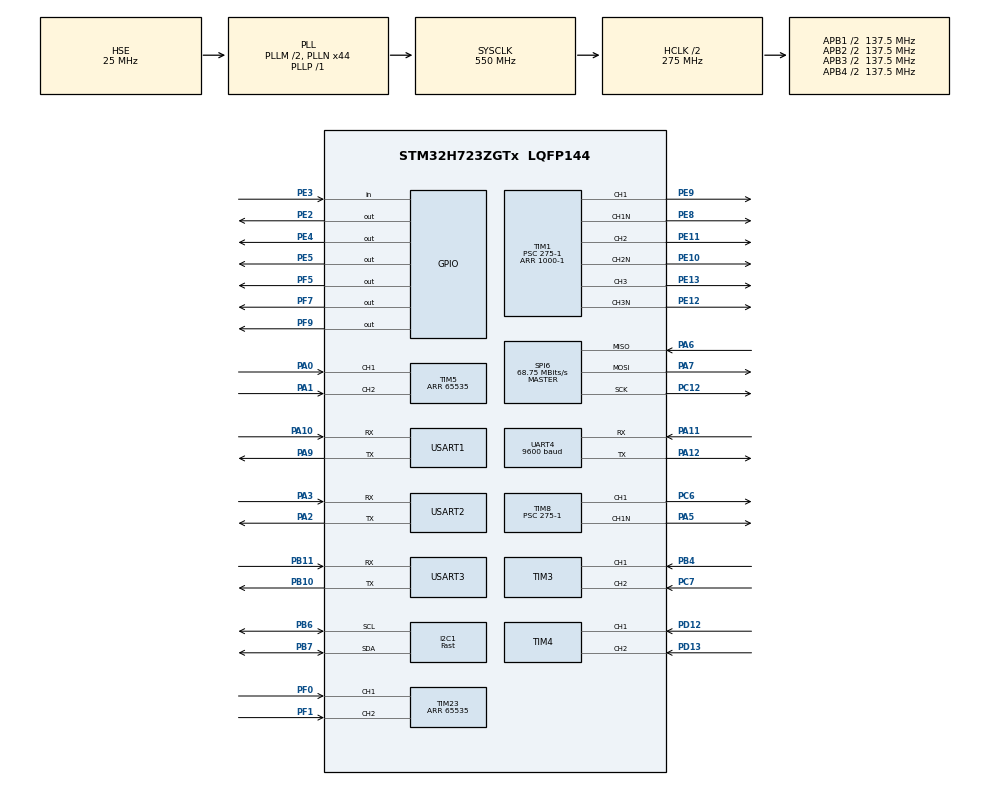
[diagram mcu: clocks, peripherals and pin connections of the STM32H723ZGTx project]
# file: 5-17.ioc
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CORTEX_M7.default_mode_Activation=1
Dma.Request0=USART1_RX
Dma.Request1=USART1_TX
Dma.Request2=UART4_RX
Dma.Request3=UART4_TX
Dma.Request4=USART2_RX
Dma.Request5=USART2_TX
Dma.Request6=USART3_RX
Dma.Request7=USART3_TX
Dma.UART4_RX.2.Direction=DMA_PERIPH_TO_MEMORY
Dma.UART4_RX.2.EventEnable=DISABLE
Dma.UART4_RX.2.FIFOMode=DMA_FIFOMODE_DISABLE
Dma.UART4_RX.2.Instance=DMA1_Stream2
Dma.UART4_RX.2.MemDataAlignment=DMA_MDATAALIGN_BYTE
Dma.UART4_RX.2.MemInc=DMA_MINC_ENABLE
Dma.UART4_RX.2.Mode=DMA_NORMAL
Dma.UART4_RX.2.PeriphDataAlignment=DMA_PDATAALIGN_BYTE
Dma.UART4_RX.2.PeriphInc=DMA_PINC_DISABLE
Dma.UART4_RX.2.Polarity=HAL_DMAMUX_REQ_GEN_RISING
Dma.UART4_RX.2.Priority=DMA_PRIORITY_LOW
Dma.UART4_RX.2.RequestNumber=1
Dma.UART4_RX.2.SignalID=NONE
Dma.UART4_RX.2.SyncEnable=DISABLE
Dma.UART4_RX.2.SyncPolarity=HAL_DMAMUX_SYNC_NO_EVENT
Dma.UART4_RX.2.SyncRequestNumber=1
Dma.UART4_RX.2.SyncSignalID=NONE
Dma.UART4_TX.3.Direction=DMA_MEMORY_TO_PERIPH
Dma.UART4_TX.3.EventEnable=DISABLE
Dma.UART4_TX.3.FIFOMode=DMA_FIFOMODE_DISABLE
Dma.UART4_TX.3.Instance=DMA1_Stream3
Dma.UART4_TX.3.MemDataAlignment=DMA_MDATAALIGN_BYTE
Dma.UART4_TX.3.MemInc=DMA_MINC_ENABLE
Dma.UART4_TX.3.Mode=DMA_NORMAL
Dma.UART4_TX.3.PeriphDataAlignment=DMA_PDATAALIGN_BYTE
Dma.UART4_TX.3.PeriphInc=DMA_PINC_DISABLE
Dma.UART4_TX.3.Polarity=HAL_DMAMUX_REQ_GEN_RISING
Dma.UART4_TX.3.Priority=DMA_PRIORITY_LOW
Dma.UART4_TX.3.RequestNumber=1
Dma.UART4_TX.3.SignalID=NONE
Dma.UART4_TX.3.SyncEnable=DISABLE
Dma.UART4_TX.3.SyncPolarity=HAL_DMAMUX_SYNC_NO_EVENT
Dma.UART4_TX.3.SyncRequestNumber=1
Dma.UART4_TX.3.SyncSignalID=NONE
Dma.USART1_RX.0.Direction=DMA_PERIPH_TO_MEMORY
Dma.USART1_RX.0.EventEnable=DISABLE
Dma.USART1_RX.0.FIFOMode=DMA_FIFOMODE_DISABLE
Dma.USART1_RX.0.Instance=DMA1_Stream0
Dma.USART1_RX.0.MemDataAlignment=DMA_MDATAALIGN_BYTE
Dma.USART1_RX.0.MemInc=DMA_MINC_ENABLE
Dma.USART1_RX.0.Mode=DMA_CIRCULAR
Dma.USART1_RX.0.PeriphDataAlignment=DMA_PDATAALIGN_BYTE
Dma.USART1_RX.0.PeriphInc=DMA_PINC_DISABLE
Dma.USART1_RX.0.Polarity=HAL_DMAMUX_REQ_GEN_RISING
Dma.USART1_RX.0.Priority=DMA_PRIORITY_LOW
Dma.USART1_RX.0.RequestNumber=1
Dma.USART1_RX.0.SignalID=NONE
Dma.USART1_RX.0.SyncEnable=DISABLE
Dma.USART1_RX.0.SyncPolarity=HAL_DMAMUX_SYNC_NO_EVENT
Dma.USART1_RX.0.SyncRequestNumber=1
Dma.USART1_RX.0.SyncSignalID=NONE
Dma.USART1_TX.1.Direction=DMA_MEMORY_TO_PERIPH
Dma.USART1_TX.1.EventEnable=DISABLE
Dma.USART1_TX.1.FIFOMode=DMA_FIFOMODE_DISABLE
Dma.USART1_TX.1.Instance=DMA1_Stream1
Dma.USART1_TX.1.MemDataAlignment=DMA_MDATAALIGN_BYTE
Dma.USART1_TX.1.MemInc=DMA_MINC_ENABLE
Dma.USART1_TX.1.Mode=DMA_NORMAL
Dma.USART1_TX.1.PeriphDataAlignment=DMA_PDATAALIGN_BYTE
Dma.USART1_TX.1.PeriphInc=DMA_PINC_DISABLE
Dma.USART1_TX.1.Polarity=HAL_DMAMUX_REQ_GEN_RISING
Dma.USART1_TX.1.Priority=DMA_PRIORITY_LOW
Dma.USART1_TX.1.RequestNumber=1
Dma.USART1_TX.1.SignalID=NONE
Dma.USART1_TX.1.SyncEnable=DISABLE
Dma.USART1_TX.1.SyncPolarity=HAL_DMAMUX_SYNC_NO_EVENT
Dma.USART1_TX.1.SyncRequestNumber=1
Dma.USART1_TX.1.SyncSignalID=NONE
Dma.USART2_RX.4.Direction=DMA_PERIPH_TO_MEMORY
Dma.USART2_RX.4.EventEnable=DISABLE
Dma.USART2_RX.4.FIFOMode=DMA_FIFOMODE_DISABLE
Dma.USART2_RX.4.Instance=DMA1_Stream4
Dma.USART2_RX.4.MemDataAlignment=DMA_MDATAALIGN_BYTE
Dma.USART2_RX.4.MemInc=DMA_MINC_ENABLE
Dma.USART2_RX.4.Mode=DMA_CIRCULAR
Dma.USART2_RX.4.PeriphDataAlignment=DMA_PDATAALIGN_BYTE
Dma.USART2_RX.4.PeriphInc=DMA_PINC_DISABLE
Dma.USART2_RX.4.Polarity=HAL_DMAMUX_REQ_GEN_RISING
Dma.USART2_RX.4.Priority=DMA_PRIORITY_LOW
Dma.USART2_RX.4.RequestNumber=1
Dma.USART2_RX.4.SignalID=NONE
Dma.USART2_RX.4.SyncEnable=DISABLE
Dma.USART2_RX.4.SyncPolarity=HAL_DMAMUX_SYNC_NO_EVENT
Dma.USART2_RX.4.SyncRequestNumber=1
Dma.USART2_RX.4.SyncSignalID=NONE
Dma.USART2_TX.5.Direction=DMA_MEMORY_TO_PERIPH
Dma.USART2_TX.5.EventEnable=DISABLE
Dma.USART2_TX.5.FIFOMode=DMA_FIFOMODE_DISABLE
Dma.USART2_TX.5.Instance=DMA1_Stream5
Dma.USART2_TX.5.MemDataAlignment=DMA_MDATAALIGN_BYTE
Dma.USART2_TX.5.MemInc=DMA_MINC_ENABLE
Dma.USART2_TX.5.Mode=DMA_NORMAL
Dma.USART2_TX.5.PeriphDataAlignment=DMA_PDATAALIGN_BYTE
Dma.USART2_TX.5.PeriphInc=DMA_PINC_DISABLE
Dma.USART2_TX.5.Polarity=HAL_DMAMUX_REQ_GEN_RISING
Dma.USART2_TX.5.Priority=DMA_PRIORITY_LOW
Dma.USART2_TX.5.RequestNumber=1
Dma.USART2_TX.5.SignalID=NONE
Dma.USART2_TX.5.SyncEnable=DISABLE
Dma.USART2_TX.5.SyncPolarity=HAL_DMAMUX_SYNC_NO_EVENT
Dma.USART2_TX.5.SyncRequestNumber=1
Dma.USART2_TX.5.SyncSignalID=NONE
Dma.USART3_RX.6.Direction=DMA_PERIPH_TO_MEMORY
Dma.USART3_RX.6.EventEnable=DISABLE
Dma.USART3_RX.6.FIFOMode=DMA_FIFOMODE_DISABLE
Dma.USART3_RX.6.Instance=DMA1_Stream6
Dma.USART3_RX.6.MemDataAlignment=DMA_MDATAALIGN_BYTE
Dma.USART3_RX.6.MemInc=DMA_MINC_ENABLE
Dma.USART3_RX.6.Mode=DMA_CIRCULAR
Dma.USART3_RX.6.PeriphDataAlignment=DMA_PDATAALIGN_BYTE
Dma.USART3_RX.6.PeriphInc=DMA_PINC_DISABLE
Dma.USART3_RX.6.Polarity=HAL_DMAMUX_REQ_GEN_RISING
Dma.USART3_RX.6.Priority=DMA_PRIORITY_LOW
Dma.USART3_RX.6.RequestNumber=1
Dma.USART3_RX.6.SignalID=NONE
Dma.USART3_RX.6.SyncEnable=DISABLE
Dma.USART3_RX.6.SyncPolarity=HAL_DMAMUX_SYNC_NO_EVENT
Dma.USART3_RX.6.SyncRequestNumber=1
Dma.USART3_RX.6.SyncSignalID=NONE
Dma.USART3_TX.7.Direction=DMA_MEMORY_TO_PERIPH
Dma.USART3_TX.7.EventEnable=DISABLE
Dma.USART3_TX.7.FIFOMode=DMA_FIFOMODE_DISABLE
Dma.USART3_TX.7.Instance=DMA1_Stream7
Dma.USART3_TX.7.MemDataAlignment=DMA_MDATAALIGN_BYTE
Dma.USART3_TX.7.MemInc=DMA_MINC_ENABLE
Dma.USART3_TX.7.Mode=DMA_NORMAL
Dma.USART3_TX.7.PeriphDataAlignment=DMA_PDATAALIGN_BYTE
Dma.USART3_TX.7.PeriphInc=DMA_PINC_DISABLE
Dma.USART3_TX.7.Polarity=HAL_DMAMUX_REQ_GEN_RISING
Dma.USART3_TX.7.Priority=DMA_PRIORITY_LOW
Dma.USART3_TX.7.RequestNumber=1
Dma.USART3_TX.7.SignalID=NONE
Dma.USART3_TX.7.SyncEnable=DISABLE
Dma.USART3_TX.7.SyncPolarity=HAL_DMAMUX_SYNC_NO_EVENT
Dma.USART3_TX.7.SyncRequestNumber=1
Dma.USART3_TX.7.SyncSignalID=NONE
I2C1.I2C_Speed_Mode=I2C_Fast
I2C1.Timing=0x00D049FB
Mcu.Family=STM32H7
Mcu.Name=STM32H723ZGTx
Mcu.Package=LQFP144
NVIC.DMA1_Stream0_IRQn=true\:0\:0\:false\:false\:true\:false\:true\:true
NVIC.DMA1_Stream1_IRQn=true\:0\:0\:false\:false\:true\:false\:true\:true
NVIC.DMA1_Stream2_IRQn=true\:0\:0\:false\:false\:true\:false\:true\:true
NVIC.DMA1_Stream3_IRQn=true\:0\:0\:false\:false\:true\:false\:true\:true
NVIC.DMA1_Stream4_IRQn=true\:0\:0\:false\:false\:true\:false\:true\:true
NVIC.DMA1_Stream5_IRQn=true\:0\:0\:false\:false\:true\:false\:true\:true
NVIC.DMA1_Stream6_IRQn=true\:0\:0\:false\:false\:true\:false\:true\:true
NVIC.DMA1_Stream7_IRQn=true\:0\:0\:false\:false\:true\:false\:true\:true
NVIC.PriorityGroup=NVIC_PRIORITYGROUP_4
NVIC.TIM2_IRQn=true\:0\:0\:false\:false\:true\:true\:true\:true
NVIC.UART4_IRQn=true\:0\:0\:false\:false\:true\:false\:true\:true
NVIC.USART1_IRQn=true\:0\:0\:false\:false\:true\:false\:true\:true
NVIC.USART2_IRQn=true\:0\:0\:false\:false\:true\:false\:true\:true
NVIC.USART3_IRQn=true\:0\:0\:false\:false\:true\:false\:true\:true
PA0.GPIO_PuPd=GPIO_PULLUP
PA0.GPIO_Speed=GPIO_SPEED_FREQ_VERY_HIGH
PA0.Signal=S_TIM5_CH1
PA1.GPIO_PuPd=GPIO_PULLUP
PA1.GPIO_Speed=GPIO_SPEED_FREQ_VERY_HIGH
PA1.Signal=S_TIM5_CH2
PA10.GPIO_Speed=GPIO_SPEED_FREQ_HIGH
PA10.Mode=Asynchronous
PA10.Signal=USART1_RX
PA11.GPIO_Speed=GPIO_SPEED_FREQ_HIGH
PA11.Mode=Asynchronous
PA11.Signal=UART4_RX
PA12.GPIO_Speed=GPIO_SPEED_FREQ_HIGH
PA12.Mode=Asynchronous
PA12.Signal=UART4_TX
PA13(JTMS/SWDIO).Mode=Serial_Wire
PA13(JTMS/SWDIO).Signal=DEBUG_JTMS-SWDIO
PA14(JTCK/SWCLK).Mode=Serial_Wire
PA14(JTCK/SWCLK).Signal=DEBUG_JTCK-SWCLK
PA2.GPIO_Speed=GPIO_SPEED_FREQ_HIGH
PA2.Mode=Asynchronous
PA2.Signal=USART2_TX
PA3.GPIO_Speed=GPIO_SPEED_FREQ_HIGH
PA3.Mode=Asynchronous
PA3.Signal=USART2_RX
PA5.Mode=PWM Generation1 CH1 CH1N
PA5.Signal=TIM8_CH1N
PA6.Mode=Full_Duplex_Master
PA6.Signal=SPI6_MISO
PA7.Mode=Full_Duplex_Master
PA7.Signal=SPI6_MOSI
PA9.GPIO_Speed=GPIO_SPEED_FREQ_HIGH
PA9.Mode=Asynchronous
PA9.Signal=USART1_TX
PB10.GPIO_Speed=GPIO_SPEED_FREQ_HIGH
PB10.Mode=Asynchronous
PB10.Signal=USART3_TX
PB11.GPIO_Speed=GPIO_SPEED_FREQ_HIGH
PB11.Mode=Asynchronous
PB11.Signal=USART3_RX
PB4(NJTRST).GPIO_PuPd=GPIO_PULLUP
PB4(NJTRST).GPIO_Speed=GPIO_SPEED_FREQ_VERY_HIGH
PB4(NJTRST).Signal=S_TIM3_CH1
PB6.GPIO_Pu=GPIO_NOPULL
PB6.GPIO_Speed=GPIO_SPEED_FREQ_HIGH
PB6.Mode=I2C
PB6.Signal=I2C1_SCL
PB7.GPIO_Pu=GPIO_NOPULL
PB7.GPIO_Speed=GPIO_SPEED_FREQ_HIGH
PB7.Mode=I2C
PB7.Signal=I2C1_SDA
PC12.Mode=Full_Duplex_Master
PC12.Signal=SPI6_SCK
PC6.Signal=S_TIM8_CH1
PC7.GPIO_PuPd=GPIO_PULLUP
PC7.GPIO_Speed=GPIO_SPEED_FREQ_VERY_HIGH
PC7.Signal=S_TIM3_CH2
PD12.GPIO_PuPd=GPIO_PULLUP
PD12.GPIO_Speed=GPIO_SPEED_FREQ_VERY_HIGH
PD12.Signal=S_TIM4_CH1
PD13.GPIO_PuPd=GPIO_PULLUP
PD13.GPIO_Speed=GPIO_SPEED_FREQ_VERY_HIGH
PD13.Signal=S_TIM4_CH2
PE10.Mode=PWM Generation2 CH2 CH2N
PE10.Signal=TIM1_CH2N
PE11.Signal=S_TIM1_CH2
PE12.Mode=PWM Generation3 CH3 CH3N
PE12.Signal=TIM1_CH3N
PE13.Signal=S_TIM1_CH3
PE2.Signal=GPIO_Output
PE3.GPIO_PuPd=GPIO_PULLUP
PE3.Signal=GPIO_Input
PE4.Signal=GPIO_Output
PE5.Signal=GPIO_Output
PE8.Mode=PWM Generation1 CH1 CH1N
PE8.Signal=TIM1_CH1N
PE9.Signal=S_TIM1_CH1
PF0.GPIO_PuPd=GPIO_PULLUP
PF0.Mode=Encoder_Interface
PF0.Signal=TIM23_CH1
PF1.GPIO_PuPd=GPIO_PULLUP
PF1.GPIO_Speed=GPIO_SPEED_FREQ_VERY_HIGH
PF1.Signal=S_TIM23_CH2
PF5.Signal=GPIO_Output
PF7.Signal=GPIO_Output
PF9.Signal=GPIO_Output
PH0-OSC_IN.Mode=HSE-External-Oscillator
PH0-OSC_IN.Signal=RCC_OSC_IN
PH1-OSC_OUT.Mode=HSE-External-Oscillator
PH1-OSC_OUT.Signal=RCC_OSC_OUT
ProjectManager.HeapSize=0x200
ProjectManager.StackSize=0x400
ProjectManager.TargetToolchain=MDK-ARM V5.32
RCC.ADCFreq_Value=50390625
RCC.APB1Freq_Value=137500000
RCC.APB2Freq_Value=137500000
RCC.APB3Freq_Value=137500000
RCC.APB4Freq_Value=137500000
RCC.CortexFreq_Value=550000000
RCC.D1PPRE=RCC_APB3_DIV2
RCC.D2PPRE1=RCC_APB1_DIV2
RCC.D2PPRE2=RCC_APB2_DIV2
RCC.D3PPRE=RCC_APB4_DIV2
RCC.DIVM1=2
RCC.DIVN1=44
RCC.DIVP1=1
RCC.HCLKFreq_Value=275000000
RCC.HPRE=RCC_HCLK_DIV2
RCC.PLLFRACN=0
RCC.PLLSourceVirtual=RCC_PLLSOURCE_HSE
RCC.SYSCLKFreq_VALUE=550000000
RCC.SYSCLKSource=RCC_SYSCLKSOURCE_PLLCLK
RCC.USBFreq_Value=275000000
SH.S_TIM1_CH1.0=TIM1_CH1,PWM Generation1 CH1 CH1N
SH.S_TIM1_CH2.0=TIM1_CH2,PWM Generation2 CH2 CH2N
SH.S_TIM1_CH3.0=TIM1_CH3,PWM Generation3 CH3 CH3N
SH.S_TIM23_CH2.0=TIM23_CH2,Encoder_Interface
SH.S_TIM3_CH1.0=TIM3_CH1,Encoder_Interface
SH.S_TIM3_CH2.0=TIM3_CH2,Encoder_Interface
SH.S_TIM4_CH1.0=TIM4_CH1,Encoder_Interface
SH.S_TIM4_CH2.0=TIM4_CH2,Encoder_Interface
SH.S_TIM5_CH1.0=TIM5_CH1,Encoder_Interface
SH.S_TIM5_CH2.0=TIM5_CH2,Encoder_Interface
SH.S_TIM8_CH1.0=TIM8_CH1,PWM Generation1 CH1 CH1N
SPI6.CalculateBaudRate=68.75 MBits/s
SPI6.Direction=SPI_DIRECTION_2LINES
SPI6.Mode=SPI_MODE_MASTER
SPI6.VirtualType=VM_MASTER
TIM1.AutoReloadPreload=TIM_AUTORELOAD_PRELOAD_ENABLE
TIM1.AutomaticOutput=TIM_AUTOMATICOUTPUT_ENABLE
TIM1.Break2State=TIM_BREAK2_ENABLE
TIM1.BreakState=TIM_BREAK_ENABLE
TIM1.Channel-PWM\ Generation1\ CH1\ CH1N=TIM_CHANNEL_1
TIM1.Channel-PWM\ Generation2\ CH2\ CH2N=TIM_CHANNEL_2
TIM1.Channel-PWM\ Generation3\ CH3\ CH3N=TIM_CHANNEL_3
TIM1.DeadTime=0x1C
TIM1.OffStateIDLEMode=TIM_OSSI_ENABLE
TIM1.OffStateRunMode=TIM_OSSR_ENABLE
TIM1.Period=1000-1
TIM1.Prescaler=275-1
TIM2.AutoReloadPreload=TIM_AUTORELOAD_PRELOAD_ENABLE
TIM2.Period=10000-1
TIM2.Prescaler=275-1
TIM23.AutoReloadPreload=TIM_AUTORELOAD_PRELOAD_ENABLE
TIM23.EncoderMode=TIM_ENCODERMODE_TI12
TIM23.Period=65535
TIM3.AutoReloadPreload=TIM_AUTORELOAD_PRELOAD_ENABLE
TIM3.EncoderMode=TIM_ENCODERMODE_TI12
TIM4.AutoReloadPreload=TIM_AUTORELOAD_PRELOAD_ENABLE
TIM4.EncoderMode=TIM_ENCODERMODE_TI12
TIM5.AutoReloadPreload=TIM_AUTORELOAD_PRELOAD_ENABLE
TIM5.EncoderMode=TIM_ENCODERMODE_TI12
TIM5.Period=65535
TIM8.AutoReloadPreload=TIM_AUTORELOAD_PRELOAD_ENABLE
TIM8.AutomaticOutput=TIM_AUTOMATICOUTPUT_ENABLE
TIM8.Break2State=TIM_BREAK2_ENABLE
TIM8.BreakState=TIM_BREAK_ENABLE
TIM8.Channel-PWM\ Generation1\ CH1\ CH1N=TIM_CHANNEL_1
TIM8.DeadTime=0x1C
TIM8.OffStateIDLEMode=TIM_OSSI_ENABLE
TIM8.OffStateRunMode=TIM_OSSR_ENABLE
TIM8.Period=1000-1
TIM8.Prescaler=275-1
UART4.BaudRate=9600
USART1.VirtualMode-Asynchronous=VM_ASYNC
USART2.VirtualMode-Asynchronous=VM_ASYNC
USART3.VirtualMode-Asynchronous=VM_ASYNC
VP_MEMORYMAP_VS_MEMORYMAP.Mode=CurAppReg
VP_TIM1_VS_ClockSourceINT.Mode=Internal
VP_TIM2_VS_ClockSourceINT.Mode=Internal
VP_TIM8_VS_ClockSourceINT.Mode=Internal
board=custom

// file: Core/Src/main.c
/* USER CODE BEGIN Header */
/**
  ******************************************************************************
  * @file           : main.c
  * @brief          : Main program body
  ******************************************************************************
  * @attention
  *
  * Copyright (c) 2025 STMicroelectronics.
  * All rights reserved.
  *
  * This software is licensed under terms that can be found in the LICENSE file
  * in the root directory of this software component.
  * If no LICENSE file comes with this software, it is provided AS-IS.
  *
  ******************************************************************************
  */
/* USER CODE END Header */
#include "main.h"
#include "dma.h"
#include "i2c.h"
#include "memorymap.h"
#include "spi.h"
#include "tim.h"
#include "usart.h"
#include "gpio.h"

/* USER CODE BEGIN Includes */
#include "lcd_model.h"
#include "PID.h"
#include "stdio.h"
#include "show.h"
#include "control.h"
#include "servo.h"
#include "Usart.h"
#include "hardware.h"
/* USER CODE END Includes */

/* USER CODE BEGIN PD */
#define RX_BUFFER_SIZE 128

#define CAMERA_WIDTH 160
#define CAMERA_HEIGHT 120
#define MIN_ANGLE_X 45.0f
#define MAX_ANGLE_X 135.0f
#define MIN_ANGLE_Y 60.0f
#define MAX_ANGLE_Y 120.0f

/* USER CODE END PD */

/* USER CODE BEGIN PV */
uint8_t received_x_1;
uint8_t received_y_1;
uint8_t received_x_2;
uint8_t received_y_2;
uint8_t key_value;
uint8_t rx_buffer[RX_BUFFER_SIZE];
uint8_t rx_len = 0;
uint8_t rx_buffer_uart2[1];
uint8_t rx_buffer_uart3[1];
/* USER CODE END PV */

void SystemClock_Config(void);
static void MPU_Config(void);

int main(void)
{

  /* MPU Configuration--------------------------------------------------------*/
  MPU_Config();

  /* MCU Configuration--------------------------------------------------------*/

  /* Reset of all peripherals, Initializes the Flash interface and the Systick. */
  HAL_Init();

  /* Configure the system clock */
  SystemClock_Config();

  /* Initialize all configured peripherals */
  MX_GPIO_Init();
  MX_DMA_Init();
  MX_I2C1_Init();
  MX_SPI6_Init();
  MX_TIM1_Init();
  MX_TIM2_Init();
  MX_TIM3_Init();
  MX_TIM4_Init();
  MX_TIM5_Init();
  MX_TIM8_Init();
  MX_TIM23_Init();
  MX_UART4_Init();
  MX_USART1_UART_Init();
  MX_USART2_UART_Init();
  MX_USART3_UART_Init();
  /* USER CODE BEGIN 2 */
  SPI_LCD_Init();
  TIM_Init();
  USART_Init();
   test();
  example();

  /* USER CODE END 2 */

  /* Infinite loop */
  while (1)
  {

  }
}

void SystemClock_Config(void)
{
  RCC_OscInitTypeDef RCC_OscInitStruct = {0};
  RCC_ClkInitTypeDef RCC_ClkInitStruct = {0};

  /** Supply configuration update enable
  */
  HAL_PWREx_ConfigSupply(PWR_LDO_SUPPLY);

  /** Configure the main internal regulator output voltage
  */
  __HAL_PWR_VOLTAGESCALING_CONFIG(PWR_REGULATOR_VOLTAGE_SCALE0);

  while(!__HAL_PWR_GET_FLAG(PWR_FLAG_VOSRDY)) {}

  /** Initializes the RCC Oscillators according to the specified parameters
  * in the RCC_OscInitTypeDef structure.
  */
  RCC_OscInitStruct.OscillatorType = RCC_OSCILLATORTYPE_HSE;
  RCC_OscInitStruct.HSEState = RCC_HSE_ON;
  RCC_OscInitStruct.PLL.PLLState = RCC_PLL_ON;
  RCC_OscInitStruct.PLL.PLLSource = RCC_PLLSOURCE_HSE;
  RCC_OscInitStruct.PLL.PLLM = 2;
  RCC_OscInitStruct.PLL.PLLN = 44;
  RCC_OscInitStruct.PLL.PLLP = 1;
  RCC_OscInitStruct.PLL.PLLQ = 2;
  RCC_OscInitStruct.PLL.PLLR = 2;
  RCC_OscInitStruct.PLL.PLLRGE = RCC_PLL1VCIRANGE_3;
  RCC_OscInitStruct.PLL.PLLVCOSEL = RCC_PLL1VCOWIDE;
  RCC_OscInitStruct.PLL.PLLFRACN = 0;
  if (HAL_RCC_OscConfig(&RCC_OscInitStruct) != HAL_OK)
  {
    Error_Handler();
  }

  /** Initializes the CPU, AHB and APB buses clocks
  */
  RCC_ClkInitStruct.ClockType = RCC_CLOCKTYPE_HCLK|RCC_CLOCKTYPE_SYSCLK
                              |RCC_CLOCKTYPE_PCLK1|RCC_CLOCKTYPE_PCLK2
                              |RCC_CLOCKTYPE_D3PCLK1|RCC_CLOCKTYPE_D1PCLK1;
  RCC_ClkInitStruct.SYSCLKSource = RCC_SYSCLKSOURCE_PLLCLK;
  RCC_ClkInitStruct.SYSCLKDivider = RCC_SYSCLK_DIV1;
  RCC_ClkInitStruct.AHBCLKDivider = RCC_HCLK_DIV2;
  RCC_ClkInitStruct.APB3CLKDivider = RCC_APB3_DIV2;
  RCC_ClkInitStruct.APB1CLKDivider = RCC_APB1_DIV2;
  RCC_ClkInitStruct.APB2CLKDivider = RCC_APB2_DIV2;
  RCC_ClkInitStruct.APB4CLKDivider = RCC_APB4_DIV2;

  if (HAL_RCC_ClockConfig(&RCC_ClkInitStruct, FLASH_LATENCY_3) != HAL_OK)
  {
    Error_Handler();
  }
}

/* USER CODE BEGIN 4 */
//void HAL_TIM_PeriodElapsedCallback(TIM_HandleTypeDef *htim) //10ms
//{
	//if (htim->Instance == TIM2)
	//{
		//int32_t current_count_TIM3 = (int32_t)TIM3->CNT;
		//int32_t current_count_TIM4 = (int32_t)TIM4->CNT;
		//int32_t delta_TIM3 = current_count_TIM3 - prev_count_TIM3;
		//int32_t delta_TIM4 = current_count_TIM4 - prev_count_TIM4;
		//prev_count_TIM3 = current_count_TIM3;
		//prev_count_TIM4 = current_count_TIM4;
		//float pulses_per_rev = 13 * 4 * 28;
		//RPM_TIM3 = (delta_TIM3 / pulses_per_rev) * (60.0f / 0.1f); //100ms
		//RPM_TIM4 = (delta_TIM4 / pulses_per_rev) * (60.0f / 0.1f);
	//}
//}
/* USER CODE END 4 */

 /* MPU Configuration */

void MPU_Config(void)
{
  MPU_Region_InitTypeDef MPU_InitStruct = {0};

  /* Disables the MPU */
  HAL_MPU_Disable();

  /** Initializes and configures the Region and the memory to be protected
  */
  MPU_InitStruct.Enable = MPU_REGION_ENABLE;
  MPU_InitStruct.Number = MPU_REGION_NUMBER0;
  MPU_InitStruct.BaseAddress = 0x0;
  MPU_InitStruct.Size = MPU_REGION_SIZE_4GB;
  MPU_InitStruct.SubRegionDisable = 0x87;
  MPU_InitStruct.TypeExtField = MPU_TEX_LEVEL0;
  MPU_InitStruct.AccessPermission = MPU_REGION_NO_ACCESS;
  MPU_InitStruct.DisableExec = MPU_INSTRUCTION_ACCESS_DISABLE;
  MPU_InitStruct.IsShareable = MPU_ACCESS_SHAREABLE;
  MPU_InitStruct.IsCacheable = MPU_ACCESS_NOT_CACHEABLE;
  MPU_InitStruct.IsBufferable = MPU_ACCESS_NOT_BUFFERABLE;

  HAL_MPU_ConfigRegion(&MPU_InitStruct);
  /* Enables the MPU */
  HAL_MPU_Enable(MPU_PRIVILEGED_DEFAULT);

}

void Error_Handler(void)
{
  __disable_irq();
  while (1)
  {
  }
}
